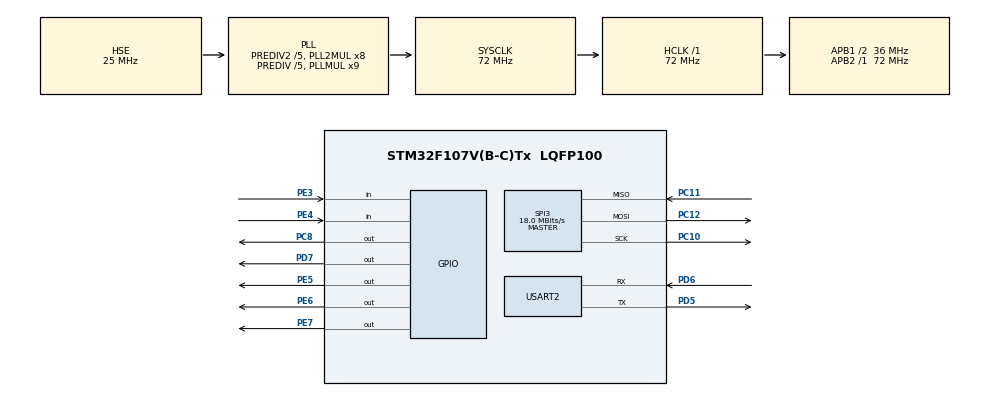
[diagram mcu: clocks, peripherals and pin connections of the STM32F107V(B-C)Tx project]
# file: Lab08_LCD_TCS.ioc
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Mcu.Family=STM32F1
Mcu.Name=STM32F107V(B-C)Tx
Mcu.Package=LQFP100
NVIC.PriorityGroup=NVIC_PRIORITYGROUP_4
NVIC.TIM1_UP_IRQn=true\:1\:0\:true\:false\:true\:true
OSC_IN.Mode=HSE-External-Oscillator
OSC_IN.Signal=RCC_OSC_IN
OSC_OUT.Mode=HSE-External-Oscillator
OSC_OUT.Signal=RCC_OSC_OUT
PC10.Mode=Full_Duplex_Master
PC10.Signal=SPI3_SCK
PC11.Mode=Full_Duplex_Master
PC11.Signal=SPI3_MISO
PC12.Mode=Full_Duplex_Master
PC12.Signal=SPI3_MOSI
PC8.Signal=GPIO_Output
PD5.Mode=Asynchronous
PD5.Signal=USART2_TX
PD6.Mode=Asynchronous
PD6.Signal=USART2_RX
PD7.Signal=GPIO_Output
PE3.Signal=GPIO_Input
PE4.Signal=GPIO_Input
PE5.Signal=GPIO_Output
PE6.Signal=GPIO_Output
PE7.Signal=GPIO_Output
ProjectManager.HeapSize=0x200
ProjectManager.StackSize=0x400
ProjectManager.TargetToolchain=MDK-ARM V5
RCC.AHBFreq_Value=72000000
RCC.APB1CLKDivider=RCC_HCLK_DIV2
RCC.APB1Freq_Value=36000000
RCC.APB1TimFreq_Value=72000000
RCC.APB2Freq_Value=72000000
RCC.APB2TimFreq_Value=72000000
RCC.HCLKFreq_Value=72000000
RCC.HSEDivPLL=RCC_HSE_PREDIV_DIV5
RCC.HSE_VALUE=25000000
RCC.PLLMUL=RCC_PLL_MUL9
RCC.PLLSourceVirtual=RCC_PLLSOURCE_HSE
RCC.Prediv1Source=RCC_PREDIV1_SOURCE_PLL2
RCC.Prediv2=RCC_HSE_PREDIV2_DIV5
RCC.SYSCLKFreq_VALUE=72000000
RCC.SYSCLKSource=RCC_SYSCLKSOURCE_PLLCLK
RCC.USBFreq_Value=48000000
SPI3.CLKPhase=SPI_PHASE_2EDGE
SPI3.CLKPolarity=SPI_POLARITY_HIGH
SPI3.CalculateBaudRate=18.0 MBits/s
SPI3.Direction=SPI_DIRECTION_2LINES
SPI3.Mode=SPI_MODE_MASTER
SPI3.VirtualType=VM_MASTER
TIM1.Period=1000-1
TIM1.Prescaler=72-1
USART2.VirtualMode=VM_ASYNC
VP_SYS_VS_ND.Mode=No_Debug
VP_TIM1_VS_ClockSourceINT.Mode=Internal
board=Lab08_LCD_TCS

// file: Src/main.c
/**
  ******************************************************************************
  * File Name          : main.c
  * Description        : Main program body
  ******************************************************************************
  ** This notice applies to any and all portions of this file
  * that are not between comment pairs USER CODE BEGIN and
  * USER CODE END. Other portions of this file, whether
  * inserted by the user or by software development tools
  * are owned by their respective copyright owners.
  *
  * COPYRIGHT(c) 2018 STMicroelectronics
  *
  * Redistribution and use in source and binary forms, with or without modification,
  * are permitted provided that the following conditions are met:
  *   1. Redistributions of source code must retain the above copyright notice,
  *      this list of conditions and the following disclaimer.
  *   2. Redistributions in binary form must reproduce the above copyright notice,
  *      this list of conditions and the following disclaimer in the documentation
  *      and/or other materials provided with the distribution.
  *   3. Neither the name of STMicroelectronics nor the names of its contributors
  *      may be used to endorse or promote products derived from this software
  *      without specific prior written permission.
  *
  * THIS SOFTWARE IS PROVIDED BY THE COPYRIGHT HOLDERS AND CONTRIBUTORS "AS IS"
  * AND ANY EXPRESS OR IMPLIED WARRANTIES, INCLUDING, BUT NOT LIMITED TO, THE
  * IMPLIED WARRANTIES OF MERCHANTABILITY AND FITNESS FOR A PARTICULAR PURPOSE ARE
  * DISCLAIMED. IN NO EVENT SHALL THE COPYRIGHT HOLDER OR CONTRIBUTORS BE LIABLE
  * FOR ANY DIRECT, INDIRECT, INCIDENTAL, SPECIAL, EXEMPLARY, OR CONSEQUENTIAL
  * DAMAGES (INCLUDING, BUT NOT LIMITED TO, PROCUREMENT OF SUBSTITUTE GOODS OR
  * SERVICES; LOSS OF USE, DATA, OR PROFITS; OR BUSINESS INTERRUPTION) HOWEVER
  * CAUSED AND ON ANY THEORY OF LIABILITY, WHETHER IN CONTRACT, STRICT LIABILITY,
  * OR TORT (INCLUDING NEGLIGENCE OR OTHERWISE) ARISING IN ANY WAY OUT OF THE USE
  * OF THIS SOFTWARE, EVEN IF ADVISED OF THE POSSIBILITY OF SUCH DAMAGE.
  *
  ******************************************************************************
  */

#include "main.h"
#include "stm32f1xx_hal.h"

/* USER CODE BEGIN Includes */
#include "et_stm32f_arm_kit_lcd.h"
#include <string.h>

/* USER CODE END Includes */

SPI_HandleTypeDef hspi3;

TIM_HandleTypeDef htim1;

UART_HandleTypeDef huart2;

/* USER CODE BEGIN PV */
/* Private variables ---------------------------------------------------------*/
uint32_t count = 0;

/* USER CODE END PV */

void SystemClock_Config(void);
static void MX_GPIO_Init(void);
static void MX_SPI3_Init(void);
static void MX_USART2_UART_Init(void);
static void MX_TIM1_Init(void);

/* USER CODE BEGIN PFP */
/* Private function prototypes -----------------------------------------------*/

/* USER CODE END PFP */

int main(void)
{

  /* MCU Configuration----------------------------------------------------------*/

  /* Reset of all peripherals, Initializes the Flash interface and the Systick. */
  HAL_Init();

  /* USER CODE BEGIN Init */
	char digit_clock[5];
	char usart_clock[7];
	uint8_t min, sec;

	char pos[50];
	uint16_t posX, posY;
	uint16_t color;

  /* USER CODE END Init */

  /* Configure the system clock */
  SystemClock_Config();

  /* Initialize all configured peripherals */
  MX_GPIO_Init();
  MX_SPI3_Init();
  MX_USART2_UART_Init();
  MX_TIM1_Init();

  /* USER CODE BEGIN 2 */
 	HAL_TIM_Base_Start_IT(&htim1);

	LCD_Setup();

	/* Lab 6-1
	LCD_Clear(White);
	LCD_SetBackColor(Blue);
	LCD_SetTextColor(White);
	LCD_DisplayStringLine(Line0, "0xxxxxxxxxxxxxxxxxx0");
	LCD_DisplayStringLine(Line1, "1xxxxxxxxxxxxxxxxxx0");
	LCD_DisplayStringLine(Line2, "2xxxxxxxxxxxxxxxxxx0");
	LCD_DisplayStringLine(Line3, "3xxxxxxxxxxxxxxxxxx0");
	LCD_DisplayStringLine(Line4, "4xxxxxxxxxxxxxxxxxx0");
	LCD_SetBackColor(Red);
	LCD_SetTextColor(Yellow);
	LCD_DisplayStringLine(Line5, "5xxxxxxxxxxxxxxxxxx0");
	LCD_DisplayStringLine(Line6, "6xxxxxxxxxxxxxxxxxx0");
	LCD_DisplayStringLine(Line7, "7xxxxxxxxxxxxxxxxxx0");
	LCD_DisplayStringLine(Line8, "8xxxxxxxxxxxxxxxxxx0");
	LCD_DisplayStringLine(Line9, "9xxxxxxxxxxxxxxxxxx0");
	*/

	/* Lab 6-2
	LCD_Clear(Red);
	LCD_SetBackColor(Blue);
	LCD_SetTextColor(Red);
	LCD_DisplayStringLine(Line0, "Abcd Edgf");
	LCD_DisplayStringLine(Line1, "59010xxx");
	LCD_DisplayStringLine(Line2, "Hijk Lmno");
	LCD_DisplayStringLine(Line3, "59010xxx");
	LCD_SetBackColor(Yellow);
	LCD_SetTextColor(Blue);
	*/

	LCD_Clear(White);

  /* USER CODE END 2 */

  /* Infinite loop */
  while (1)
  {

  /* USER CODE BEGIN 3 */
	/* Lab 6-2
	min = (count/60000)%60;
	sec = (count/1000)%60;
	sprintf(digit_clock, "%02d:%02d", min, sec);
	LCD_DisplayStringLine(Line6, (uint8_t*)digit_clock);

	sprintf(usart_clock, "%02d:%02d\r\n", min, sec);
	while(__HAL_UART_GET_FLAG(&huart2, UART_FLAG_TC) == RESET) {}
	HAL_UART_Transmit(&huart2, (uint8_t*)usart_clock, strlen(usart_clock), 100);
	*/

	posX = TCS_Read_X();
	posY = TCS_Read_Y();
	sprintf(pos, "X = %-6d Y = %-6d\r\n", posX, posY);
	while(__HAL_UART_GET_FLAG(&huart2, UART_FLAG_TC) == RESET) {}
	HAL_UART_Transmit(&huart2, (uint8_t*)pos, strlen(pos), 100);

	if (posX!=0 && posY!=0){
		if (posX<=160 && posY<=120){
			color = Yellow;
		} else if (posX>160 && posY<=120){
			color = Red;
		} else if (posX>160 && posY>120){
			color = Blue;
		} else if (posX<=160 && posY>120){
			color = Magenta;
		}
		LCD_Clear(color);
	}
	HAL_Delay(100);

  }
  /* USER CODE END 3 */

}

/** System Clock Configuration
*/
void SystemClock_Config(void)
{

  RCC_OscInitTypeDef RCC_OscInitStruct;
  RCC_ClkInitTypeDef RCC_ClkInitStruct;

    /**Initializes the CPU, AHB and APB busses clocks
    */
  RCC_OscInitStruct.OscillatorType = RCC_OSCILLATORTYPE_HSE;
  RCC_OscInitStruct.HSEState = RCC_HSE_ON;
  RCC_OscInitStruct.HSEPredivValue = RCC_HSE_PREDIV_DIV5;
  RCC_OscInitStruct.HSIState = RCC_HSI_ON;
  RCC_OscInitStruct.Prediv1Source = RCC_PREDIV1_SOURCE_PLL2;
  RCC_OscInitStruct.PLL.PLLState = RCC_PLL_ON;
  RCC_OscInitStruct.PLL.PLLSource = RCC_PLLSOURCE_HSE;
  RCC_OscInitStruct.PLL.PLLMUL = RCC_PLL_MUL9;
  RCC_OscInitStruct.PLL2.PLL2State = RCC_PLL2_ON;
  RCC_OscInitStruct.PLL2.PLL2MUL = RCC_PLL2_MUL8;
  RCC_OscInitStruct.PLL2.HSEPrediv2Value = RCC_HSE_PREDIV2_DIV5;
  if (HAL_RCC_OscConfig(&RCC_OscInitStruct) != HAL_OK)
  {
    _Error_Handler(__FILE__, __LINE__);
  }

    /**Initializes the CPU, AHB and APB busses clocks
    */
  RCC_ClkInitStruct.ClockType = RCC_CLOCKTYPE_HCLK|RCC_CLOCKTYPE_SYSCLK
                              |RCC_CLOCKTYPE_PCLK1|RCC_CLOCKTYPE_PCLK2;
  RCC_ClkInitStruct.SYSCLKSource = RCC_SYSCLKSOURCE_PLLCLK;
  RCC_ClkInitStruct.AHBCLKDivider = RCC_SYSCLK_DIV1;
  RCC_ClkInitStruct.APB1CLKDivider = RCC_HCLK_DIV2;
  RCC_ClkInitStruct.APB2CLKDivider = RCC_HCLK_DIV1;

  if (HAL_RCC_ClockConfig(&RCC_ClkInitStruct, FLASH_LATENCY_2) != HAL_OK)
  {
    _Error_Handler(__FILE__, __LINE__);
  }

    /**Configure the Systick interrupt time
    */
  HAL_SYSTICK_Config(HAL_RCC_GetHCLKFreq()/1000);

    /**Configure the Systick
    */
  HAL_SYSTICK_CLKSourceConfig(SYSTICK_CLKSOURCE_HCLK);

    /**Configure the Systick interrupt time
    */
  __HAL_RCC_PLLI2S_ENABLE();

  /* SysTick_IRQn interrupt configuration */
  HAL_NVIC_SetPriority(SysTick_IRQn, 0, 0);
}

/* SPI3 init function */
static void MX_SPI3_Init(void)
{

  /* SPI3 parameter configuration*/
  hspi3.Instance = SPI3;
  hspi3.Init.Mode = SPI_MODE_MASTER;
  hspi3.Init.Direction = SPI_DIRECTION_2LINES;
  hspi3.Init.DataSize = SPI_DATASIZE_8BIT;
  hspi3.Init.CLKPolarity = SPI_POLARITY_HIGH;
  hspi3.Init.CLKPhase = SPI_PHASE_2EDGE;
  hspi3.Init.NSS = SPI_NSS_SOFT;
  hspi3.Init.BaudRatePrescaler = SPI_BAUDRATEPRESCALER_2;
  hspi3.Init.FirstBit = SPI_FIRSTBIT_MSB;
  hspi3.Init.TIMode = SPI_TIMODE_DISABLE;
  hspi3.Init.CRCCalculation = SPI_CRCCALCULATION_DISABLE;
  hspi3.Init.CRCPolynomial = 10;
  if (HAL_SPI_Init(&hspi3) != HAL_OK)
  {
    _Error_Handler(__FILE__, __LINE__);
  }

}

/* TIM1 init function */
static void MX_TIM1_Init(void)
{

  TIM_ClockConfigTypeDef sClockSourceConfig;
  TIM_MasterConfigTypeDef sMasterConfig;

  htim1.Instance = TIM1;
  htim1.Init.Prescaler = 72-1;
  htim1.Init.CounterMode = TIM_COUNTERMODE_UP;
  htim1.Init.Period = 1000-1;
  htim1.Init.ClockDivision = TIM_CLOCKDIVISION_DIV1;
  htim1.Init.RepetitionCounter = 0;
  htim1.Init.AutoReloadPreload = TIM_AUTORELOAD_PRELOAD_DISABLE;
  if (HAL_TIM_Base_Init(&htim1) != HAL_OK)
  {
    _Error_Handler(__FILE__, __LINE__);
  }

  sClockSourceConfig.ClockSource = TIM_CLOCKSOURCE_INTERNAL;
  if (HAL_TIM_ConfigClockSource(&htim1, &sClockSourceConfig) != HAL_OK)
  {
    _Error_Handler(__FILE__, __LINE__);
  }

  sMasterConfig.MasterOutputTrigger = TIM_TRGO_RESET;
  sMasterConfig.MasterSlaveMode = TIM_MASTERSLAVEMODE_DISABLE;
  if (HAL_TIMEx_MasterConfigSynchronization(&htim1, &sMasterConfig) != HAL_OK)
  {
    _Error_Handler(__FILE__, __LINE__);
  }

}

/* USART2 init function */
static void MX_USART2_UART_Init(void)
{

  huart2.Instance = USART2;
  huart2.Init.BaudRate = 115200;
  huart2.Init.WordLength = UART_WORDLENGTH_8B;
  huart2.Init.StopBits = UART_STOPBITS_1;
  huart2.Init.Parity = UART_PARITY_NONE;
  huart2.Init.Mode = UART_MODE_TX_RX;
  huart2.Init.HwFlowCtl = UART_HWCONTROL_NONE;
  huart2.Init.OverSampling = UART_OVERSAMPLING_16;
  if (HAL_UART_Init(&huart2) != HAL_OK)
  {
    _Error_Handler(__FILE__, __LINE__);
  }

}

/** Configure pins as
        * Analog
        * Input
        * Output
        * EVENT_OUT
        * EXTI
*/
static void MX_GPIO_Init(void)
{

  GPIO_InitTypeDef GPIO_InitStruct;

  /* GPIO Ports Clock Enable */
  __HAL_RCC_GPIOE_CLK_ENABLE();
  __HAL_RCC_GPIOC_CLK_ENABLE();
  __HAL_RCC_GPIOD_CLK_ENABLE();

  /*Configure GPIO pin Output Level */
  HAL_GPIO_WritePin(GPIOE, GPIO_PIN_5|GPIO_PIN_6|GPIO_PIN_7, GPIO_PIN_RESET);

  /*Configure GPIO pin Output Level */
  HAL_GPIO_WritePin(GPIOC, GPIO_PIN_8, GPIO_PIN_RESET);

  /*Configure GPIO pin Output Level */
  HAL_GPIO_WritePin(GPIOD, GPIO_PIN_7, GPIO_PIN_RESET);

  /*Configure GPIO pins : PE3 PE4 */
  GPIO_InitStruct.Pin = GPIO_PIN_3|GPIO_PIN_4;
  GPIO_InitStruct.Mode = GPIO_MODE_INPUT;
  GPIO_InitStruct.Pull = GPIO_NOPULL;
  HAL_GPIO_Init(GPIOE, &GPIO_InitStruct);

  /*Configure GPIO pins : PE5 PE6 PE7 */
  GPIO_InitStruct.Pin = GPIO_PIN_5|GPIO_PIN_6|GPIO_PIN_7;
  GPIO_InitStruct.Mode = GPIO_MODE_OUTPUT_PP;
  GPIO_InitStruct.Speed = GPIO_SPEED_FREQ_LOW;
  HAL_GPIO_Init(GPIOE, &GPIO_InitStruct);

  /*Configure GPIO pin : PC8 */
  GPIO_InitStruct.Pin = GPIO_PIN_8;
  GPIO_InitStruct.Mode = GPIO_MODE_OUTPUT_PP;
  GPIO_InitStruct.Speed = GPIO_SPEED_FREQ_LOW;
  HAL_GPIO_Init(GPIOC, &GPIO_InitStruct);

  /*Configure GPIO pin : PD7 */
  GPIO_InitStruct.Pin = GPIO_PIN_7;
  GPIO_InitStruct.Mode = GPIO_MODE_OUTPUT_PP;
  GPIO_InitStruct.Speed = GPIO_SPEED_FREQ_LOW;
  HAL_GPIO_Init(GPIOD, &GPIO_InitStruct);

}

void _Error_Handler(char * file, int line)
{
  while(1)
  {
  }
}

/************************ (C) COPYRIGHT STMicroelectronics *****END OF FILE****/
